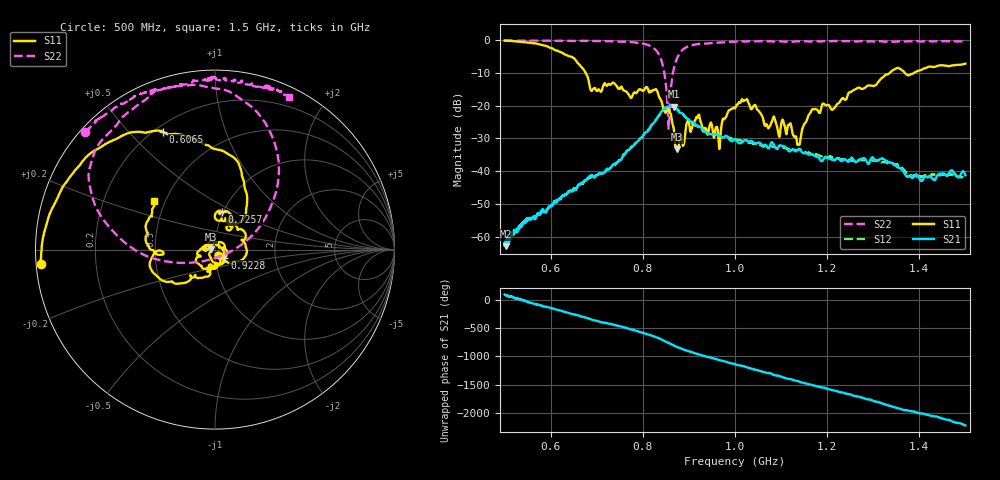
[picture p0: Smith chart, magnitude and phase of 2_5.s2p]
!Agilent Technologies,E8364B,US42250235,A.06.04.32
!Agilent E8364B: A.06.04.32
!Date: Thursday, October 01, 2020 14:42:28
!Correction: S11(Full 2 Port(1,2)) S21(Full 2 Port(1,2)) S12(Full 2 Port(1,2)) S22(Full 2 Port(1,2))
!S2P File: Measurements: S11, S21, S12, S22:
# Hz S  dB  R 50
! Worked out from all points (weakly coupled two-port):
!   2650 points, 500 MHz to 1.5 GHz, reference 50 ohm
!   highest |S21| = -20.38 dB at 866.6 MHz (marker M1); lowest = -62.8 dB at 502.3 MHz (marker M2)
!   lowest |S11| = -33.3 dB at 874.9 MHz (marker M3), VSWR 1.04, Z = 47.9 + j0.0536 ohm
!   |S11| at or under -10 dB: 675.6 MHz to 1.336 GHz (660.8 MHz wide, 65.7 % of centre); 1.368 GHz to 1.389 GHz (21.18 MHz wide, 1.54 % of centre)
!   |S22| runs from -27.0 to -0.2 dB; largest |S21 - S12| = 0.0091
!   S11 on the Smith chart (normalised r, x): 500 MHz: 0.01, -0.04; 606.5 MHz: 0.23, +0.63; 725.7 MHz: 0.98, +0.43; 922.8 MHz: 1.11, -0.10; 1.5 GHz: 0.44, +0.29
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5e8  -0.22 -175.3  -62.57 87.5  -62.32 86.5  -0.23 137.9
5.02265e8  -0.24 -176.4  -62.84 76.3  -61.76 82.0  -0.24 137.5
5.562476e8  -0.93 151.7  -54.38 -59.0  -54.54 -51.6  -0.21 131.5
6.064553e8  -2.90 113.7  -49.74 -163.1  -49.65 -158.9  -0.31 127.5
6.668554e8  -8.31 64.5  -43.57 59.6  -43.75 60.5  -0.33 119.9
6.89128e8  -15.53 65.6  -41.22 4.4  -41.69 7.7  -0.34 116.9
7.257456e8  -13.42 80.2  -39.36 -65.6  -39.37 -67.4  -0.40 113.4
8.001133e8  -15.51 42.1  -29.22 132.1  -29.46 128.2  -1.11 84.2
8.337108e8  -16.69 -26.5  -23.23 39.2  -23.34 34.1  -4.19 55.2
8.450359e8  -20.91 -47.3  -21.13 -2.5  -21.14 -6.4  -8.89 34.7
8.556059e8  -21.17 -65.2  -20.40 -45.6  -20.33 -48.9  -26.44 -48.9
8.665534e8  -26.66 -129.2  -20.38 -87.4  -20.43 -91.9  -9.18 -171.9
8.748584e8  -33.31 178.5  -21.36 -120.8  -21.06 -124.0  -5.40 172.9
9.228011e8  -23.26 -40.5  -26.41 106.6  -26.89 104.1  -1.21 139.4
9.654587e8  -32.73 -73.8  -29.07 12.8  -28.87 10.6  -0.84 120.1
1.000189e9  -20.84 -94.6  -30.19 -62.9  -30.03 -67.7  -0.56 113.0
1.024726e9  -18.20 -141.8  -30.58 -114.5  -31.11 -122.7  -0.51 110.8
1.137599e9  -31.91 28.4  -33.27 -2.0  -33.53 -9.5  -0.44 97.2
1.166667e9  -21.36 -60.6  -34.88 -67.5  -34.82 -75.5  -0.50 91.6
1.333522e9  -10.34 -144.0  -37.29 -69.1  -37.69 -78.4  -0.48 77.5
1.404492e9  -9.18 -179.5  -42.95 150.1  -41.61 136.0  -0.52 72.1
1.5e9  -7.27 141.3  -41.22 -61.7  -42.59 -74.4  -0.52 64.1
